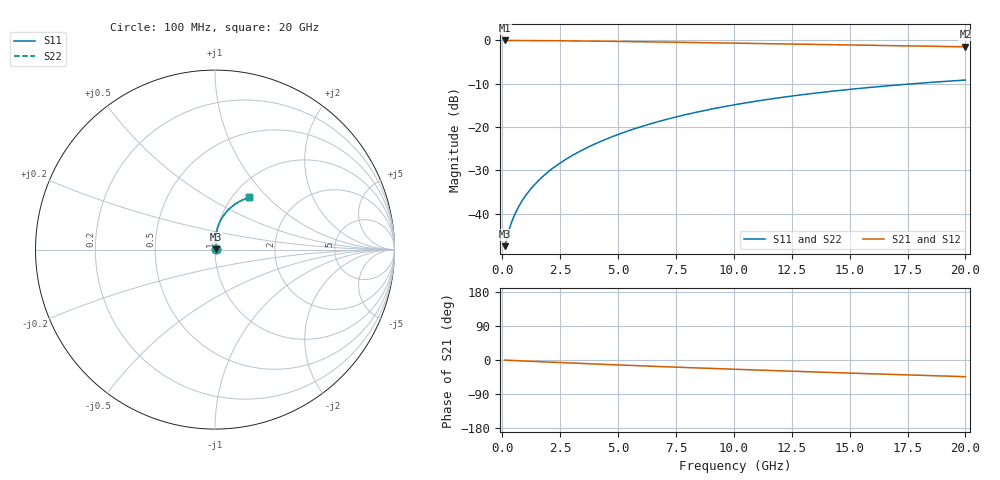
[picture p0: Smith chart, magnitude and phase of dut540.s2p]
! Touchstone file exported from HFSS 2024.1.0
!  File:  C:/UserFiles/LocalFiles/RDL_TSV_Batchsim/temp_RDL_top_540_1779680519.aedt
!  Generated:  11:44:10 AM May 25, 2026
!  Design:  RDL_top
!  Project:  temp_RDL_top_540_1779680519
!  Setup:  Setup1
!  Solution:  Sweep
! Variables:
!  dtsv = 10.80580581um
!  hbump = 3um
!  htsv = 64.45um
!  ldown = 100um
!  lrdl = 645.84um
!  p = 40
!  p1 = 49.43um
!  rhole = 1um
!  t = 450um
!  tdown = 3.915915916um
!  trdl = 2.47um
!  wdown = 15.38538539um
!  wrdl = 26.2um
# GHz S MA R 50.000000
! Terminal data exported
! Port[1] = Box2_T1
! Port[2] = Box2_T2
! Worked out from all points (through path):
!   200 points, 100 MHz to 20 GHz, reference 50 ohm
!   highest |S21| = -0.03 dB at 100 MHz (marker M1); lowest = -1.5 dB at 20 GHz (marker M2)
!   group delay of S21, straight-line fit = 6.04 ps
!   lowest |S11| = -47.5 dB at 100 MHz (marker M3), VSWR 1.01, Z = 50.4 + j0.179 ohm
!   |S11| at or under -10 dB: start of sweep to 17.77 GHz
!   |S22| runs from -47.5 to -9.2 dB; largest |S21 - S12| = 4.4e-15
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0.1  0.004231 24.8  0.9961 -0.3  0.9961 -0.3  0.004231 24.8
! Gamma 0 0 0 0
! Port Impedance 50 0 50 0
0.3  0.006606 50.5  0.9957 -0.9  0.9957 -0.9  0.006606 50.5
0.4  0.007953 56.5  0.9954 -1.1  0.9954 -1.1  0.007953 56.5
0.5  0.0093 60.8  0.9951 -1.4  0.9951 -1.4  0.0093 60.8
0.6  0.01064 64.0  0.9949 -1.7  0.9949 -1.7  0.01064 64.0
0.8  0.01334 68.9  0.9943 -2.2  0.9943 -2.2  0.01334 68.9
1  0.01609 72.4  0.9938 -2.7  0.9938 -2.7  0.01609 72.4
1.2  0.0189 75.1  0.9933 -3.3  0.9933 -3.3  0.0189 75.1
1.7  0.02617 79.6  0.9916 -4.6  0.9916 -4.6  0.02617 79.6
2.2  0.03378 82.3  0.9895 -5.9  0.9895 -5.9  0.03378 82.3
2.8  0.04335 84.2  0.9865 -7.5  0.9865 -7.5  0.04335 84.3
3.5  0.05507 85.4  0.9822 -9.3  0.9822 -9.3  0.05508 85.5
4.2  0.06738 85.9  0.9775 -11.0  0.9775 -11.0  0.06738 85.9
5  0.08205 85.7  0.9714 -13.0  0.9714 -13.0  0.08206 85.7
5.9  0.09918 85.0  0.9641 -15.2  0.9641 -15.2  0.0992 85.0
6.8  0.1168 83.7  0.9565 -17.3  0.9565 -17.3  0.1168 83.8
8.4  0.1485 80.9  0.9425 -20.9  0.9425 -20.9  0.1486 80.9
10.1  0.1821 77.4  0.9273 -24.6  0.9273 -24.6  0.1821 77.4
11.7  0.2128 73.9  0.913 -28.0  0.913 -28.0  0.2128 73.9
13.4  0.244 70.2  0.8979 -31.4  0.8979 -31.4  0.2441 70.2
16.7  0.2997 63.1  0.8691 -37.9  0.8691 -37.9  0.2998 63.2
20  0.3483 56.5  0.8413 -44.0  0.8413 -44.0  0.3485 56.5
